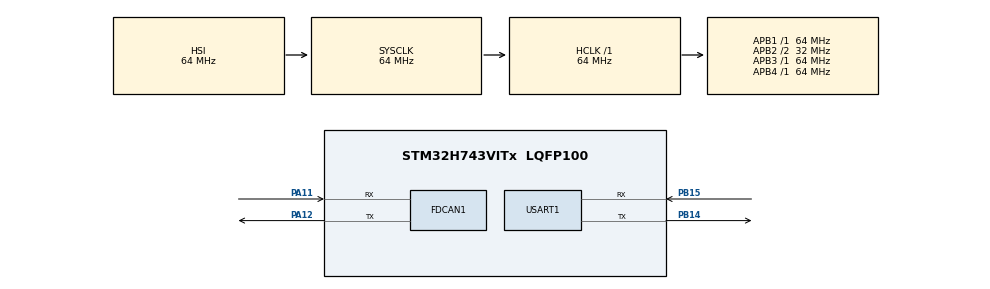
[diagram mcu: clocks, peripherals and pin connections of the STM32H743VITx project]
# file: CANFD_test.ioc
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CORTEX_M7.default_mode_Activation=1
FDCAN1.CalculateBaudRateNominal=500000
FDCAN1.CalculateTimeBitNominal=2000
FDCAN1.CalculateTimeQuantumNominal=200.0
FDCAN1.DataPrescaler=1
FDCAN1.DataSyncJumpWidth=2
FDCAN1.DataTimeSeg1=7
FDCAN1.DataTimeSeg2=2
FDCAN1.ExtFiltersNbr=1
FDCAN1.FrameFormat=FDCAN_FRAME_FD_BRS
FDCAN1.NominalPrescaler=4
FDCAN1.NominalSyncJumpWidth=2
FDCAN1.NominalTimeSeg1=7
FDCAN1.RxBufferSize=FDCAN_DATA_BYTES_64
FDCAN1.RxFifo0ElmtSize=FDCAN_DATA_BYTES_64
FDCAN1.RxFifo1ElmtSize=FDCAN_DATA_BYTES_64
FDCAN1.StdFiltersNbr=1
FDCAN1.TxBuffersNbr=32
FDCAN1.TxElmtSize=FDCAN_DATA_BYTES_64
FDCAN1.TxFifoQueueElmtsNbr=32
FDCAN1.TxFifoQueueMode=FDCAN_TX_FIFO_OPERATION
Mcu.Family=STM32H7
Mcu.Name=STM32H743VITx
Mcu.Package=LQFP100
NVIC.PriorityGroup=NVIC_PRIORITYGROUP_4
NVIC.TIM6_DAC_IRQn=true\:0\:0\:false\:false\:true\:true\:true\:true
PA11.Mode=FDCAN_Activate
PA11.Signal=FDCAN1_RX
PA12.Mode=FDCAN_Activate
PA12.Signal=FDCAN1_TX
PB14.Mode=Asynchronous
PB14.Signal=USART1_TX
PB15.Mode=Asynchronous
PB15.Signal=USART1_RX
PH0-OSC_IN\ (PH0).Mode=HSE-External-Oscillator
PH0-OSC_IN\ (PH0).Signal=RCC_OSC_IN
PH1-OSC_OUT\ (PH1).Mode=HSE-External-Oscillator
PH1-OSC_OUT\ (PH1).Signal=RCC_OSC_OUT
ProjectManager.HeapSize=0x200
ProjectManager.StackSize=0x400
ProjectManager.TargetToolchain=MDK-ARM V5.32
RCC.ADCFreq_Value=129000000
RCC.APB1Freq_Value=64000000
RCC.APB2Freq_Value=32000000
RCC.APB3Freq_Value=64000000
RCC.APB4Freq_Value=64000000
RCC.CortexFreq_Value=64000000
RCC.D2PPRE2=RCC_APB2_DIV2
RCC.DIVM1=4
RCC.DIVN1=10
RCC.DIVQ1=8
RCC.HCLKFreq_Value=64000000
RCC.HSE_VALUE=25000000
RCC.PLLFRACN=0
RCC.SYSCLKFreq_VALUE=64000000
RCC.USBFreq_Value=20000000
TIM6.AutoReloadPreload=TIM_AUTORELOAD_PRELOAD_ENABLE
TIM6.Period=9999
TIM6.Prescaler=63
USART1.VirtualMode-Asynchronous=VM_ASYNC
VP_MEMORYMAP_VS_MEMORYMAP.Mode=CurAppReg
VP_TIM6_VS_ClockSourceINT.Mode=Enable_Timer
board=custom

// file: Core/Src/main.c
/* USER CODE BEGIN Header */
/**
  ******************************************************************************
  * @file           : main.c
  * @brief          : Main program body
  ******************************************************************************
  * @attention
  *
  * Copyright (c) 2025 STMicroelectronics.
  * All rights reserved.
  *
  * This software is licensed under terms that can be found in the LICENSE file
  * in the root directory of this software component.
  * If no LICENSE file comes with this software, it is provided AS-IS.
  *
  ******************************************************************************
  */
/* USER CODE END Header */
#include "main.h"

/* USER CODE BEGIN Includes */
#include "usart_debug.h"
#define my_printf(x)  printf(#x"hello\r\n")
#define TX_DBUFFER(x) FDCAN_TX_BUFFER ## x

/* USER CODE END Includes */

/* USER CODE BEGIN PD */
typedef struct
{
  uint32_t can_id;
  uint32_t id_type;   //FDCAN_STANDARD_ID FDCAN_EXTENDED_ID
  uint32_t frametype; //FDCAN_DATA_FRAME  FDCAN_REMOTE_FRAME
  uint32_t DLC;       //FDCAN_DLC_BYTES_64 FDCAN_DLC_BYTES_8
  uint32_t BRS;       //FDCAN_BRS_OFF FDCAN_BRS_ON
  uint32_t FDFormat;  //FDCAN_CLASSIC_CAN FDCAN_FD_CAN
  uint16_t e2e_data_id;    //E2E request
  uint8_t *p_data;    //data

  /* data */
}CANFD_Message;

CANFD_Message HCU_FD1;
CANFD_Message PEPS2;
/* USER CODE END PD */

FDCAN_HandleTypeDef hfdcan1;

TIM_HandleTypeDef htim6;

UART_HandleTypeDef huart1;

void SystemClock_Config(void);
static void MPU_Config(void);
static void MX_GPIO_Init(void);
static void MX_FDCAN1_Init(void);
static void MX_USART1_UART_Init(void);
static void MX_TIM6_Init(void);

/* USER CODE BEGIN 0 */

HAL_StatusTypeDef Add_CANFD_Message(CANFD_Message msg,uint32_t txbuffer)
{
  FDCAN_TxHeaderTypeDef header_tmp;
  header_tmp.Identifier=msg.can_id;
  header_tmp.BitRateSwitch=msg.BRS;
  header_tmp.DataLength=msg.DLC;
  header_tmp.ErrorStateIndicator=FDCAN_ESI_ACTIVE;
  header_tmp.FDFormat=msg.FDFormat;
  header_tmp.IdType=msg.id_type;
  header_tmp.TxFrameType=msg.frametype;
  header_tmp.MessageMarker=0;
  header_tmp.TxEventFifoControl=FDCAN_NO_TX_EVENTS;

return HAL_FDCAN_AddMessageToTxBuffer(&hfdcan1,&header_tmp,msg.p_data,txbuffer);
}

uint8_t gwm_crc(uint8_t *data,uint16_t position,uint16_t data_id)//计算E2E的CRC
{
  if(position>56)
  {
    user_main_error("CRC fail!check the CRC filled position!");
  }

  uint8_t id_high = (data_id>>8)&0xff;
  uint8_t id_low = (uint8_t)data_id;
  uint8_t crc=0;
  uint8_t poly=0x1d;

  for(uint8_t i=0;i<9;i++)
  {
    if(i==0)
    {
      crc^=id_low;
    }
    else if (i==1)
    {
      crc^=id_high;
    }
    else
    {
      crc^=data[position+i-1];
    }
    for(uint8_t x=0;x<8;x++)
    {
      if(crc&0x80)
      {
        crc = (crc<<1)^poly;
      }
      else
      {
        crc=crc<<1;
      }
    }

  }
  crc = crc ^ 0x00;
  return crc;

}

void rolling_counter_change(uint8_t counter,CANFD_Message *message,uint16_t position)
{
  message->p_data[position] = counter;
}

/* USER CODE END 0 */

int main(void)
{

  /* MPU Configuration--------------------------------------------------------*/
  MPU_Config();

  /* MCU Configuration--------------------------------------------------------*/

  /* Reset of all peripherals, Initializes the Flash interface and the Systick. */
  HAL_Init();

  /* Configure the system clock */
  SystemClock_Config();

  /* Initialize all configured peripherals */
  MX_GPIO_Init();
  MX_FDCAN1_Init();
  MX_USART1_UART_Init();
  MX_TIM6_Init();
  /* USER CODE BEGIN 2 */
  uint8_t status=0;
  uint8_t HCU_FD1_data[64]={0, 0, 0, 0, 0, 0, 0, 0, 83, 0, 4, 176, 0, 0, 0, 11, 0, 0, 0, 0, 0, 0, 0, 0, 0, 0, 0, 0, 0, 0, 0, 0, 172, 0, 0, 0, 0, 40, 0, 11, 0, 0, 0, 0, 0, 0, 0, 0, 0, 0, 0, 0, 0, 0, 0, 0, 48, 48, 48, 48, 48, 48, 48, 48};
  uint8_t PEPS2_data[8]={0, 0xa0, 0, 0, 0, 0, 0, 0};

  HCU_FD1.can_id=0x60;
  HCU_FD1.BRS=FDCAN_BRS_ON;
  HCU_FD1.DLC=FDCAN_DLC_BYTES_64;
  HCU_FD1.FDFormat=FDCAN_FD_CAN;
  HCU_FD1.frametype=FDCAN_DATA_FRAME;
  HCU_FD1.id_type=FDCAN_STANDARD_ID;
  HCU_FD1.p_data=HCU_FD1_data;

  PEPS2.can_id=0x295;
  PEPS2.BRS=FDCAN_BRS_OFF;
  PEPS2.DLC=FDCAN_DLC_BYTES_8;
  PEPS2.FDFormat=FDCAN_CLASSIC_CAN;
  PEPS2.frametype=FDCAN_DATA_FRAME;
  PEPS2.id_type=FDCAN_STANDARD_ID;
  PEPS2.p_data=PEPS2_data;
  Add_CANFD_Message(PEPS2,FDCAN_TX_BUFFER2);
  Add_CANFD_Message(HCU_FD1,FDCAN_TX_BUFFER1);

  if(HAL_FDCAN_Start(&hfdcan1)!=HAL_OK)
  {
    user_main_info("FDCAN start fail!\r\n");
  }
  HAL_TIM_Base_Start_IT(&htim6);
  uint8_t cnt=0;

  uint8_t rollingcnter_HCU_FD1=0;
  // status = HAL_FDCAN_AddMessageToTxBuffer(&hfdcan1, &TxHeader, canfd_data, FDCAN_TX_BUFFER10);
  /* USER CODE END 2 */

  /* Infinite loop */
  while (1)
  {

    /* USER CODE BEGIN 3 */
    // if (status != HAL_OK) {
  //     user_main_debug("Error adding message to Tx buffer. Status: %d", status);
  // } else {
  //     // HAL_FDCAN_EnableTxBufferRequest(&hfdcan1, FDCAN_TX_BUFFER10);
  //     HAL_FDCAN_EnableTxBufferRequest(&hfdcan1, FDCAN_TX_BUFFER1);
  // }

  // Check the error status
  // uint32_t errorStatus = HAL_FDCAN_GetError(&hfdcan1);
  // user_main_debug("FDCAN Error Status: %x", errorStatus);
  // user_main_debug_printf("helloworld\r\n");
  // cnt++;
  // HAL_Delay(10);

  // if(cnt>=5)
  // {
  //   cnt=0;
  //   HAL_FDCAN_EnableTxBufferRequest(&hfdcan1, FDCAN_TX_BUFFER2);
  }

  /* USER CODE END 3 */
}
void SystemClock_Config(void)
{
  RCC_OscInitTypeDef RCC_OscInitStruct = {0};
  RCC_ClkInitTypeDef RCC_ClkInitStruct = {0};

  /** Supply configuration update enable
  */
  HAL_PWREx_ConfigSupply(PWR_LDO_SUPPLY);

  /** Configure the main internal regulator output voltage
  */
  __HAL_PWR_VOLTAGESCALING_CONFIG(PWR_REGULATOR_VOLTAGE_SCALE3);

  while(!__HAL_PWR_GET_FLAG(PWR_FLAG_VOSRDY)) {}

  /** Initializes the RCC Oscillators according to the specified parameters
  * in the RCC_OscInitTypeDef structure.
  */
  RCC_OscInitStruct.OscillatorType = RCC_OSCILLATORTYPE_HSI;
  RCC_OscInitStruct.HSIState = RCC_HSI_DIV1;
  RCC_OscInitStruct.HSICalibrationValue = RCC_HSICALIBRATION_DEFAULT;
  RCC_OscInitStruct.PLL.PLLState = RCC_PLL_ON;
  RCC_OscInitStruct.PLL.PLLSource = RCC_PLLSOURCE_HSI;
  RCC_OscInitStruct.PLL.PLLM = 4;
  RCC_OscInitStruct.PLL.PLLN = 10;
  RCC_OscInitStruct.PLL.PLLP = 2;
  RCC_OscInitStruct.PLL.PLLQ = 8;
  RCC_OscInitStruct.PLL.PLLR = 2;
  RCC_OscInitStruct.PLL.PLLRGE = RCC_PLL1VCIRANGE_3;
  RCC_OscInitStruct.PLL.PLLVCOSEL = RCC_PLL1VCOMEDIUM;
  RCC_OscInitStruct.PLL.PLLFRACN = 0;
  if (HAL_RCC_OscConfig(&RCC_OscInitStruct) != HAL_OK)
  {
    Error_Handler();
  }

  /** Initializes the CPU, AHB and APB buses clocks
  */
  RCC_ClkInitStruct.ClockType = RCC_CLOCKTYPE_HCLK|RCC_CLOCKTYPE_SYSCLK
                              |RCC_CLOCKTYPE_PCLK1|RCC_CLOCKTYPE_PCLK2
                              |RCC_CLOCKTYPE_D3PCLK1|RCC_CLOCKTYPE_D1PCLK1;
  RCC_ClkInitStruct.SYSCLKSource = RCC_SYSCLKSOURCE_HSI;
  RCC_ClkInitStruct.SYSCLKDivider = RCC_SYSCLK_DIV1;
  RCC_ClkInitStruct.AHBCLKDivider = RCC_HCLK_DIV1;
  RCC_ClkInitStruct.APB3CLKDivider = RCC_APB3_DIV1;
  RCC_ClkInitStruct.APB1CLKDivider = RCC_APB1_DIV1;
  RCC_ClkInitStruct.APB2CLKDivider = RCC_APB2_DIV2;
  RCC_ClkInitStruct.APB4CLKDivider = RCC_APB4_DIV1;

  if (HAL_RCC_ClockConfig(&RCC_ClkInitStruct, FLASH_LATENCY_1) != HAL_OK)
  {
    Error_Handler();
  }
}

static void MX_FDCAN1_Init(void)
{

  hfdcan1.Instance = FDCAN1;
  hfdcan1.Init.FrameFormat = FDCAN_FRAME_FD_BRS;
  hfdcan1.Init.Mode = FDCAN_MODE_NORMAL;
  hfdcan1.Init.AutoRetransmission = DISABLE;
  hfdcan1.Init.TransmitPause = DISABLE;
  hfdcan1.Init.ProtocolException = DISABLE;
  hfdcan1.Init.NominalPrescaler = 4;
  hfdcan1.Init.NominalSyncJumpWidth = 2;
  hfdcan1.Init.NominalTimeSeg1 = 7;
  hfdcan1.Init.NominalTimeSeg2 = 2;
  hfdcan1.Init.DataPrescaler = 1;
  hfdcan1.Init.DataSyncJumpWidth = 2;
  hfdcan1.Init.DataTimeSeg1 = 7;
  hfdcan1.Init.DataTimeSeg2 = 2;
  hfdcan1.Init.MessageRAMOffset = 0;
  hfdcan1.Init.StdFiltersNbr = 1;
  hfdcan1.Init.ExtFiltersNbr = 1;
  hfdcan1.Init.RxFifo0ElmtsNbr = 0;
  hfdcan1.Init.RxFifo0ElmtSize = FDCAN_DATA_BYTES_64;
  hfdcan1.Init.RxFifo1ElmtsNbr = 0;
  hfdcan1.Init.RxFifo1ElmtSize = FDCAN_DATA_BYTES_64;
  hfdcan1.Init.RxBuffersNbr = 0;
  hfdcan1.Init.RxBufferSize = FDCAN_DATA_BYTES_64;
  hfdcan1.Init.TxEventsNbr = 0;
  hfdcan1.Init.TxBuffersNbr = 16;
  hfdcan1.Init.TxFifoQueueElmtsNbr = 16;
  hfdcan1.Init.TxFifoQueueMode = FDCAN_TX_FIFO_OPERATION;
  hfdcan1.Init.TxElmtSize = FDCAN_DATA_BYTES_64;
  if (HAL_FDCAN_Init(&hfdcan1) != HAL_OK)
  {
    Error_Handler();
  }

}

static void MX_TIM6_Init(void)
{

  TIM_MasterConfigTypeDef sMasterConfig = {0};

  htim6.Instance = TIM6;
  htim6.Init.Prescaler = 63;
  htim6.Init.CounterMode = TIM_COUNTERMODE_UP;
  htim6.Init.Period = 9999;
  htim6.Init.AutoReloadPreload = TIM_AUTORELOAD_PRELOAD_ENABLE;
  if (HAL_TIM_Base_Init(&htim6) != HAL_OK)
  {
    Error_Handler();
  }
  sMasterConfig.MasterOutputTrigger = TIM_TRGO_RESET;
  sMasterConfig.MasterSlaveMode = TIM_MASTERSLAVEMODE_DISABLE;
  if (HAL_TIMEx_MasterConfigSynchronization(&htim6, &sMasterConfig) != HAL_OK)
  {
    Error_Handler();
  }

}

static void MX_USART1_UART_Init(void)
{

  huart1.Instance = USART1;
  huart1.Init.BaudRate = 115200;
  huart1.Init.WordLength = UART_WORDLENGTH_8B;
  huart1.Init.StopBits = UART_STOPBITS_1;
  huart1.Init.Parity = UART_PARITY_NONE;
  huart1.Init.Mode = UART_MODE_TX_RX;
  huart1.Init.HwFlowCtl = UART_HWCONTROL_NONE;
  huart1.Init.OverSampling = UART_OVERSAMPLING_16;
  huart1.Init.OneBitSampling = UART_ONE_BIT_SAMPLE_DISABLE;
  huart1.Init.ClockPrescaler = UART_PRESCALER_DIV1;
  huart1.AdvancedInit.AdvFeatureInit = UART_ADVFEATURE_NO_INIT;
  if (HAL_UART_Init(&huart1) != HAL_OK)
  {
    Error_Handler();
  }
  if (HAL_UARTEx_SetTxFifoThreshold(&huart1, UART_TXFIFO_THRESHOLD_1_8) != HAL_OK)
  {
    Error_Handler();
  }
  if (HAL_UARTEx_SetRxFifoThreshold(&huart1, UART_RXFIFO_THRESHOLD_1_8) != HAL_OK)
  {
    Error_Handler();
  }
  if (HAL_UARTEx_DisableFifoMode(&huart1) != HAL_OK)
  {
    Error_Handler();
  }

}

static void MX_GPIO_Init(void)
{

  /* GPIO Ports Clock Enable */
  __HAL_RCC_GPIOH_CLK_ENABLE();
  __HAL_RCC_GPIOB_CLK_ENABLE();
  __HAL_RCC_GPIOA_CLK_ENABLE();

}

/* USER CODE BEGIN 4 */

void HAL_TIM_PeriodElapsedCallback(TIM_HandleTypeDef *htim)
{
  if(htim->Instance == TIM6)
  {
    static uint8_t cnt=0;
    static uint8_t rolling_counter_HCU = 0;
    cnt++;
    rolling_counter_HCU = (rolling_counter_HCU+1)%16;
    // rolling_counter_change(rolling_counter_HCU,&HCU_FD1,15);
    // HCU_FD1.p_data[8] = gwm_crc(HCU_FD1.p_data,8,0x81);
    // user_main_info("counter is %d\r\n",rolling_counter_HCU);
    // user_main_info("CRC is %d\r\n",HCU_FD1.p_data[8]);
    user_main_debug("position_val = %d",POSITION_VAL(FDCAN_TX_BUFFER1));
    uint32_t *canfd_ram_address =(uint32_t *)(0x08+hfdcan1.msgRam.TxBufferSA+((POSITION_VAL(FDCAN_TX_BUFFER1))*hfdcan1.Init.TxElmtSize*4));
    // uint32_t *canfd_ram_address =(uint32_t *)0x4000AC5C;
    user_main_debug("buffer1`s address is 0x%x",canfd_ram_address);

    HCU_FD1.p_data[15]=rolling_counter_HCU;
    canfd_ram_address[3]=(canfd_ram_address[3]&0xffffff00)|(uint32_t)(rolling_counter_HCU);
    canfd_ram_address[2]=(canfd_ram_address[2]&0xffffff00)|(uint32_t)(gwm_crc(HCU_FD1.p_data,8,0x81));

    HAL_FDCAN_EnableTxBufferRequest(&hfdcan1, FDCAN_TX_BUFFER1);
    if(cnt==5)
    {
      cnt=0;
      HAL_FDCAN_EnableTxBufferRequest(&hfdcan1, FDCAN_TX_BUFFER2);
    }
  }

}

/* USER CODE END 4 */

 /* MPU Configuration */

void MPU_Config(void)
{
  MPU_Region_InitTypeDef MPU_InitStruct = {0};

  /* Disables the MPU */
  HAL_MPU_Disable();

  /** Initializes and configures the Region and the memory to be protected
  */
  MPU_InitStruct.Enable = MPU_REGION_ENABLE;
  MPU_InitStruct.Number = MPU_REGION_NUMBER0;
  MPU_InitStruct.BaseAddress = 0x0;
  MPU_InitStruct.Size = MPU_REGION_SIZE_4GB;
  MPU_InitStruct.SubRegionDisable = 0x87;
  MPU_InitStruct.TypeExtField = MPU_TEX_LEVEL0;
  MPU_InitStruct.AccessPermission = MPU_REGION_NO_ACCESS;
  MPU_InitStruct.DisableExec = MPU_INSTRUCTION_ACCESS_DISABLE;
  MPU_InitStruct.IsShareable = MPU_ACCESS_SHAREABLE;
  MPU_InitStruct.IsCacheable = MPU_ACCESS_NOT_CACHEABLE;
  MPU_InitStruct.IsBufferable = MPU_ACCESS_NOT_BUFFERABLE;

  HAL_MPU_ConfigRegion(&MPU_InitStruct);
  /* Enables the MPU */
  HAL_MPU_Enable(MPU_PRIVILEGED_DEFAULT);

}

void Error_Handler(void)
{
  __disable_irq();
  while (1)
  {
  }
}
